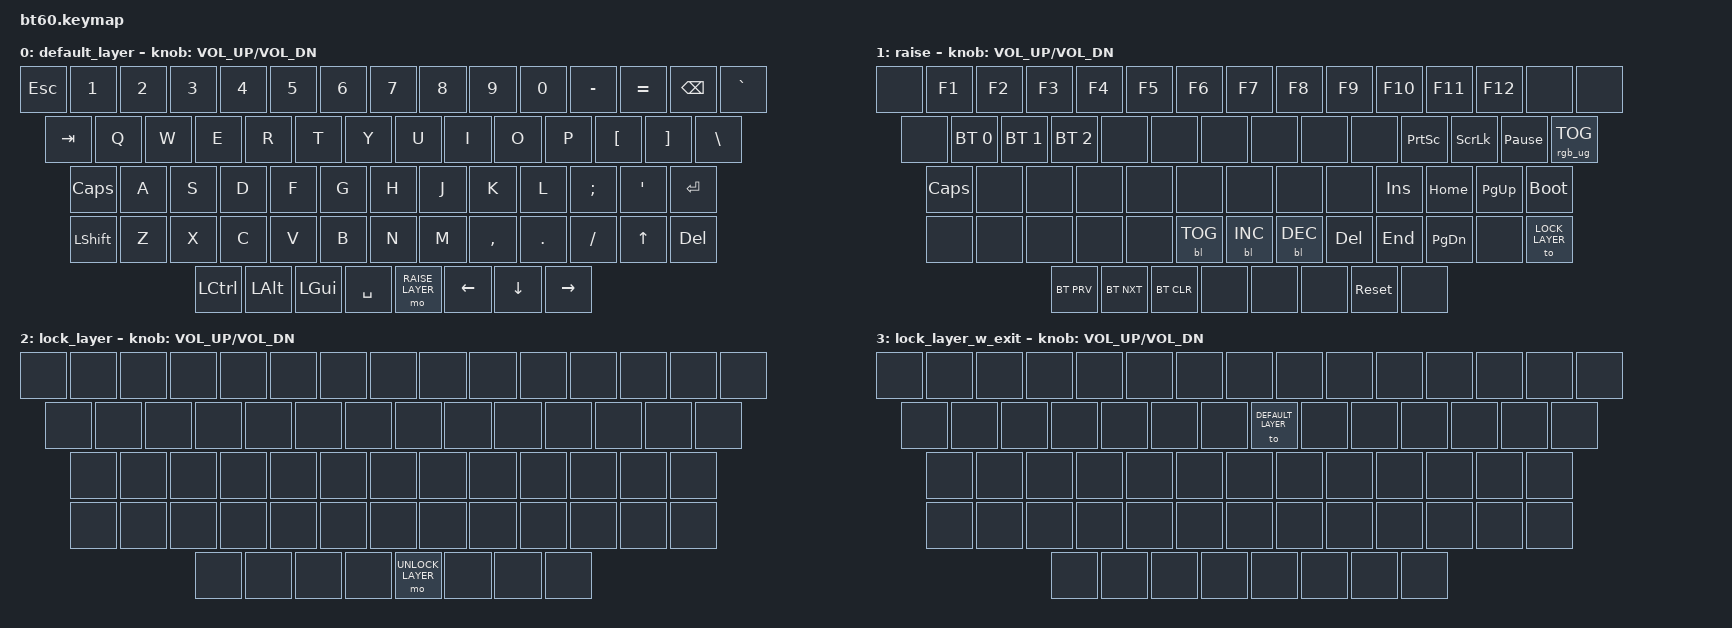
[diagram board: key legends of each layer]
#include <behaviors.dtsi>
#include <dt-bindings/zmk/keys.h>
#include <dt-bindings/zmk/bt.h>
#include <dt-bindings/zmk/rgb.h>
#include <dt-bindings/zmk/backlight.h>

#define DEFAULT_LAYER 0
#define RAISE_LAYER   1
#define LOCK_LAYER    2
#define UNLOCK_LAYER  3

/ {
	keymap {
		compatible = "zmk,keymap";

		default_layer {
				// ------------------------------------------------------------------------------------------
				// | ESC |  1  |  2  |  3  |  4  |  5  |  6  |  7  |  8  |  9  |  0  |  -  |  =  | BKSP | ` |
				// | TAB  |  Q  |  W  |  E  |  R  |  T  |  Y  |  U  |  I  |  O  |  P  |  [  |  ]  |    BSLH |
				// | CAPS  |  A  |  S  |  D  |  F  |  G  |  H  |  J  |  K  |  L  |  ;  |  '  |        ENTER |
				// |  SHIFT    |  Z  |  X  |  C  |  V  |  B  |  N  |  M  |  ,  |  .  | /   |    UP    | DEL |
				// |  CTL  |  ALT  |  CMD  |          SPACE           | RAISE_LAYER | LEFT | DOWN |  RIGHT  |
				// ------------------------------------------------------------------------------------------
			bindings = <
				&kp ESC &kp N1 &kp N2 &kp N3 &kp N4 &kp N5 &kp N6 &kp N7 &kp  N8   &kp  N9 &kp  N0  &kp MINUS &kp EQUAL &kp BSPC &kp GRAVE
				&kp TAB  &kp Q  &kp W  &kp E  &kp R  &kp T  &kp Y  &kp U  &kp  I    &kp  O  &kp  P   &kp LBKT &kp RBKT   &kp BSLH
				&kp CAPS  &kp A  &kp S  &kp D  &kp F  &kp G  &kp H  &kp J  &kp  K    &kp  L  &kp SEMI &kp SQT            &kp RET
				&kp LSHFT  &kp Z  &kp X  &kp C  &kp V  &kp B  &kp N  &kp M  &kp COMMA &kp DOT &kp FSLH             &kp UP &kp DEL
				&kp LCTRL &kp LALT &kp LGUI            &kp SPACE                          &mo RAISE_LAYER  &kp LEFT &kp DOWN    &kp RIGHT
			>;
			sensor-bindings = <&inc_dec_kp C_VOL_UP C_VOL_DN>;
		};
		raise {
				// ------------------------------------------------------------------------------------------
				// |     | F1  | F2  | F3  | F4  | F5  | F6  | F7  | F8  | F9  | F10 | F11 | F12 |      |   |
				// |      | BT0 | BT1 | BT2 |     |     |     |     |     |     | PRI | SLC | PAU | RGB_TOG |
				// | CAPS  |     |     |     |     |     |     |     |     | INS | HOME| PGUP |  BOOTLOADER |
				// |           |     |    |    |    | BLTOG | BL+ | BL- | DEL | END | PGDN |   | LOCK_LAYER |
				// | BTPRV | BTNXT | BTCLR |                                |    |       | RESET  |         |
				// ------------------------------------------------------------------------------------------
			bindings = <
				&none &kp F1 &kp F2 &kp F3 &kp F4 &kp F5 &kp F6 &kp F7 &kp F8 &kp F9 &kp F10 &kp F11 &kp F12 &none &none
				&none &bt BT_SEL 0 &bt BT_SEL 1 &bt BT_SEL 2 &none &none &none &none &none &none &kp PSCRN &kp SLCK &kp PAUSE_BREAK &rgb_ug RGB_TOG
				&kp CAPS  &none &none &none &none &none &none &none &none &kp INS &kp HOME  &kp PG_UP   &bootloader
				&none      &none &none &none &none &bl BL_TOG &bl BL_INC &bl BL_DEC &kp DEL &kp END &kp PG_DN  &none &to LOCK_LAYER
				&bt BT_PRV &bt BT_NXT &bt BT_CLR              &none                            &none   &none   &sys_reset &none
			>;
			sensor-bindings = <&inc_dec_kp C_VOL_UP C_VOL_DN>;
		};
    lock_layer {
				// ------------------------------------------------------------------------------------------
				// |     |     |     |     |     |     |     |     |     |     |     |     |     |      |   |
				// |      |     |     |     |     |     |     |     |     |     |     |     |     |         |
				// |       |     |     |     |     |     |     |     |     |     |     |      |             |
				// |           |     |    |    |    |       |     |     |     |     |      |   |            |
				// |      |       |       |                                 | UNLOCK_LAYER |   |    |       |
				// ------------------------------------------------------------------------------------------
			bindings = <
				&none &none &none &none &none &none &none &none &none &none &none &none &none &none &none
				&none &none &none &none &none &none &none &none &none &none &none &none &none &none
				&none  &none &none &none &none &none &none &none &none &none &none &none &none
				&none      &none &none &none &none &none &none &none &none &none &none &none &none
				&none &none &none              &none                            &mo UNLOCK_LAYER   &none   &none &none
			>;
			sensor-bindings = <&inc_dec_kp C_VOL_UP C_VOL_DN>;
		};
				// ------------------------------------------------------------------------------------------
				// |     |     |     |     |     |     |     |     |     |     |     |     |     |      |   |
				// |      |     |     |     |     |     |     | 1st_LAYER |     |     |     |     |     |   |
				// |       |     |     |     |     |     |     |     |     |     |     |      |             |
				// |          |     |    |     |    |     |     |     |     |     |     |          |        |
				// |      |       |       |                                  |       |      |       |       |
				// ------------------------------------------------------------------------------------------
    lock_layer_w_exit {
			bindings = <
				&none &none &none &none &none &none &none &none &none &none &none &none &none &none &none
				&none &none &none &none &none &none &none &to DEFAULT_LAYER &none &none &none &none &none &none
				&none  &none &none &none &none &none &none &none &none &none &none &none &none
				&none      &none &none &none &none &none &none &none &none &none &none &none &none
				&none &none &none              &none                            &none   &none   &none &none
			>;
			sensor-bindings = <&inc_dec_kp C_VOL_UP C_VOL_DN>;
		};
	};
};
